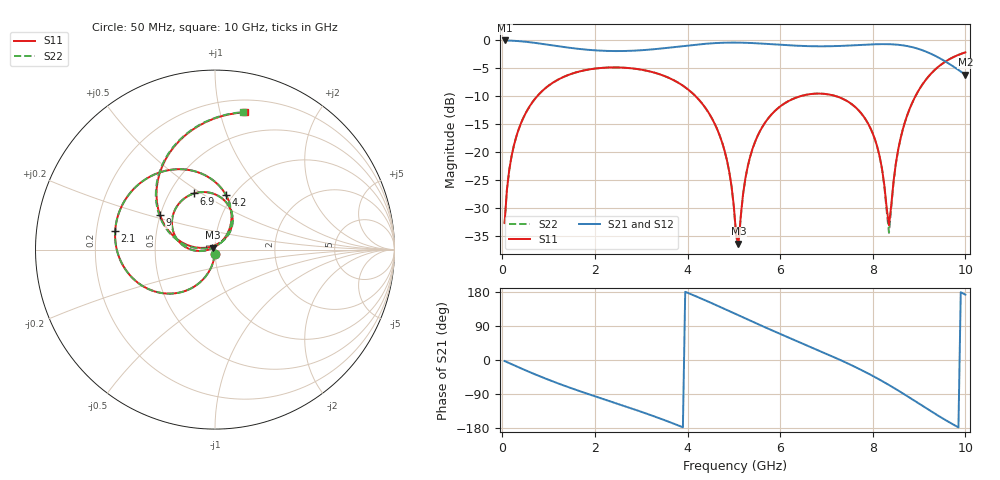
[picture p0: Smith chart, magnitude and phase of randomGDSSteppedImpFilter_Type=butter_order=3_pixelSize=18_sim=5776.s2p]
! freq	dB(S11)	phase(S11)	dB(S12)	phase(S12)
!  dB(S21)	phase(S21)	dB(S22)	phase(S22)
!S-par simulation data
#  GHz  S  DB  R 50
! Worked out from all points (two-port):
!   200 points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, 50 MHz to 10 GHz, reference 50 ohm
!   highest |S21| = 0.00 dB at 50 MHz (marker M1); lowest = -6.2 dB at 10 GHz (marker M2)
!   |S21| within 3 dB of the highest: start of sweep to 9.406 GHz
!   lowest |S11| = -36.4 dB at 5.1 GHz (marker M3), VSWR 1.03, Z = 48.9 + j0.967 ohm
!   |S11| at or under -10 dB: start of sweep to 752.3 MHz; 4.175 GHz to 6.431 GHz (2.255 GHz wide, 42.5 % of centre); 7.213 GHz to 8.92 GHz (1.708 GHz wide, 21.2 % of centre)
!   |S22| runs from -36.8 to -2.1 dB; largest |S21 - S12| = 0
!   S11 on the Smith chart (normalised r, x): 50 MHz: 1.00, -0.05; 2.1 GHz: 0.28, +0.08; 4.2 GHz: 0.93, +0.62; 6.9 GHz: 0.66, +0.47; 9 GHz: 0.50, +0.22; 10 GHz: 0.30, +1.19
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0.05  -32.71 -92.7  -0.00 -2.7  -0.00 -2.7  -32.71 -92.7
0.2  -20.73 -101.0  -0.04 -11.0  -0.04 -11.0  -20.73 -101.0
0.5  -13.10 -117.3  -0.23 -27.1  -0.23 -27.1  -13.09 -117.3
1.75  -5.39 -176.0  -1.60 -85.5  -1.60 -85.5  -5.39 -176.0
2.1  -4.95 169.6  -1.82 -99.8  -1.82 -99.8  -4.95 169.6
3.4  -6.06 115.9  -1.47 -154.0  -1.47 -154.0  -6.06 115.9
4.2  -10.21 78.4  -0.74 167.2  -0.74 167.2  -10.21 78.3
4.8  -19.75 51.4  -0.41 134.7  -0.41 134.7  -19.76 50.9
4.95  -26.10 51.5  -0.39 126.4  -0.39 126.4  -26.14 50.6
5.05  -34.82 79.3  -0.39 120.8  -0.39 120.8  -35.11 77.5
5.1  -36.40 139.2  -0.39 118.0  -0.39 118.0  -36.84 140.3
5.25  -24.65 -174.6  -0.42 109.6  -0.42 109.6  -24.68 -173.8
5.55  -16.46 177.4  -0.53 93.1  -0.53 93.1  -16.47 177.7
6.7  -9.56 120.6  -1.04 32.2  -1.04 32.2  -9.56 120.6
6.9  -9.53 110.4  -1.05 21.7  -1.05 21.7  -9.53 110.4
7.95  -15.71 54.8  -0.72 -38.8  -0.72 -38.8  -15.72 54.1
8.2  -23.00 48.8  -0.66 -55.4  -0.66 -55.4  -23.09 46.6
8.35  -33.09 112.8  -0.67 -66.0  -0.67 -66.0  -34.46 113.0
8.6  -17.52 172.3  -0.82 -84.3  -0.82 -84.3  -17.56 174.1
9  -8.81 147.8  -1.55 -115.2  -1.55 -115.2  -8.82 148.7
9.45  -4.48 115.0  -3.20 -149.7  -3.20 -149.7  -4.49 115.6
10  -2.13 77.8  -6.15 172.4  -6.15 172.4  -2.14 78.4
